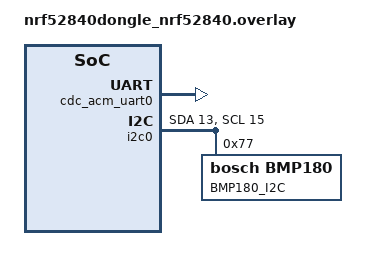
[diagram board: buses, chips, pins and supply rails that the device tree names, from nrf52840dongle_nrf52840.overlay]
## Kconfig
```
# Copyright (c) 2020, Nordic Semiconductor ASA
# SPDX-License-Identifier: Apache-2.0

config LOG
	default y

config LOG_PRINTK
	default y

config SENSOR_LOG_LEVEL
	default 4

# Enable SPI and I2C support by default so that the sample works with
# the device connected either way. These defaults can be overridden if
# needed.
config I2C
	default y

source "Kconfig.zephyr"
```

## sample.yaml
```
sample:
  name: BMP180 Sensor sample
tests:
  sample.sensor.bmp180:
    harness: console
    tags: sensors
    platform_allow: nrf52840dongle_nrf52840
    integration_platforms:
      - nrf52840dongle_nrf52840
    harness_config:
        type: one_line
        regex:
            - "temp: (.*); press: (.*);"
        fixture: fixture_i2c_bmp180
```

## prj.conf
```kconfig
CONFIG_SENSOR=y
CONFIG_BMP180=y
CONFIG_CPLUSPLUS=y
CONFIG_LIB_CPLUSPLUS=y
CONFIG_NEWLIB_LIBC=y
CONFIG_USB_DEVICE_STACK=y
CONFIG_USB_DEVICE_PRODUCT="Zephyr USB console sample"
CONFIG_STD_CPP17=y

CONFIG_SERIAL=y
CONFIG_CONSOLE=y
CONFIG_UART_CONSOLE=y
CONFIG_UART_LINE_CTRL=y
```

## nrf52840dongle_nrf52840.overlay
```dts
// To get started, press Ctrl+Space to bring up the completion menu and view the available nodes.
// For more help, browse the DeviceTree documentation at https://docs.zephyrproject.org/latest/guides/dts/index.html
/ {
	chosen {
		zephyr,console = &cdc_acm_uart0;
	};
};

&zephyr_udc0 {
	cdc_acm_uart0: cdc_acm_uart0 {
		compatible = "zephyr,cdc-acm-uart";
		label = "CDC_ACM_0";
	};
};
&i2c0 {
	sda-pin = < 13 >;
	scl-pin = < 15 >;
	status = "okay";
    bmp180@77 {
		compatible = "bosch,bmp180";
		reg = <0x77>;
		label = "BMP180_I2C";
	};
};
```

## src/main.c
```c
/*
 * Copyright (c) 2012-2014 Wind River Systems, Inc.
 * Copyright (c) 2021 Nordic Semiconductor ASA
 *
 * SPDX-License-Identifier: Apache-2.0
 */

#include <zephyr.h>
#include <device.h>
#include <devicetree.h>
#include <drivers/sensor.h>
#include <usb/usb_device.h>
#include <drivers/uart.h>
#include <logging/log.h>
#include <drivers/sensor.h>

LOG_MODULE_REGISTER(app);

static const struct device *get_bmp180_device(void)
{
	const struct device *dev = DEVICE_DT_GET_ANY(bosch_bmp180);

	if (dev == NULL) {
		/* No such node, or the node does not have status "okay". */
		LOG_ERR("Error: no device found.");
		return NULL;
	}

	if (!device_is_ready(dev)) {
		LOG_ERR("Error: Device \"%s\" is not ready; "
		       "check the driver initialization logs for errors.",
		       dev->name);
		return NULL;
	}

	LOG_INF("Found device \"%s\", getting sensor data", dev->name);
	return dev;
}

void initUSB() {
	const struct device* consoleDev = DEVICE_DT_GET(DT_CHOSEN(zephyr_console));
	uint32_t dtr = 0;

	if (usb_enable(NULL)) {
		return;
	}

	while (!dtr) {
		uart_line_ctrl_get(consoleDev, UART_LINE_CTRL_DTR, &dtr);
		k_sleep(K_MSEC(100));
	}
}

void main(void) {

	initUSB();
	k_sleep(K_SECONDS(5));
	LOG_INF("started!");

	const struct device *dev_bmp_180 = get_bmp180_device();

	if (dev_bmp_180 == NULL) {
		LOG_ERR("bmp180 not found");
		return;
	}

	while (1) {
		struct sensor_value temp, press, altitude;

		sensor_sample_fetch(dev_bmp_180);
		sensor_channel_get(dev_bmp_180, SENSOR_CHAN_AMBIENT_TEMP, &temp);
		sensor_channel_get(dev_bmp_180, SENSOR_CHAN_PRESS, &press);
		sensor_channel_get(dev_bmp_180, SENSOR_CHAN_ALTITUDE, &altitude);

		printk("\r\ntemperature: %d.%d C\r\npressure: %d Pa\r\nAltitude: %d m above sea level\r\n",
			temp.val1, temp.val2/100000, press.val1, altitude.val1);

		k_sleep(K_MSEC(5000));
	}
}
```
